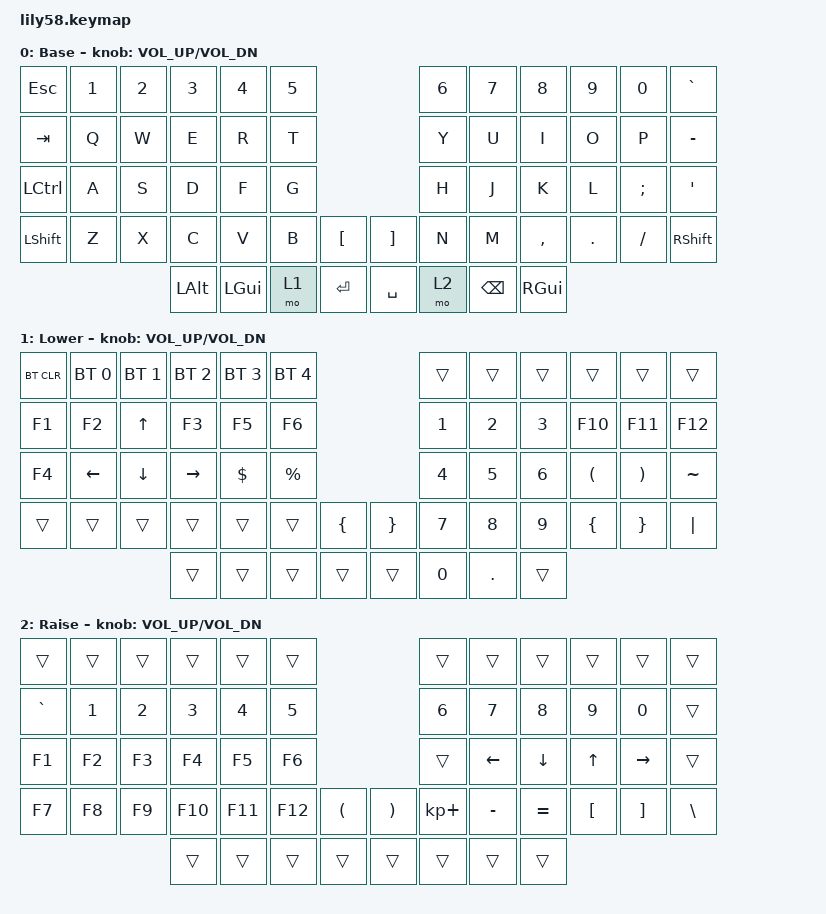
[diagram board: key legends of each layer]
/*
 * Copyright (c) 2020 The ZMK Contributors
 *
 * SPDX-License-Identifier: MIT
 */

#include <behaviors.dtsi>
#include <dt-bindings/zmk/bt.h>
#include <dt-bindings/zmk/keys.h>

/ {
    keymap {
        compatible = "zmk,keymap";

        default_layer {
            // ------------------------------------------------------------------------------------------------------------
            // |  ESC  |  1  |  2  |  3   |  4   |  5   |                   |  6   |  7    |  8    |  9   |   0   |   `   |
            // |  TAB  |  Q  |  W  |  E   |  R   |  T   |                   |  Y   |  U    |  I    |  O   |   P   |   -   |
            // |  CTRL |  A  |  S  |  D   |  F   |  G   |                   |  H   |  J    |  K    |  L   |   ;   |   '   |
            // | SHIFT |  Z  |  X  |  C   |  V   |  B   |   "["  |  |  "]"  |  N   |  M    |  ,    |  .   |   /   | SHIFT |
            //                     | ALT  | GUI  | LOWER|  SPACE |  | ENTER | RAISE| BSPC  | GUI   |

            display-name = "Base";
            bindings = <
&kp ESC    &kp N1  &kp N2  &kp N3    &kp N4    &kp N5                          &kp N6  &kp N7    &kp N8     &kp N9   &kp N0    &kp GRAVE
&kp TAB    &kp Q   &kp W   &kp E     &kp R     &kp T                           &kp Y   &kp U     &kp I      &kp O    &kp P     &kp MINUS
&kp LCTRL  &kp A   &kp S   &kp D     &kp F     &kp G                           &kp H   &kp J     &kp K      &kp L    &kp SEMI  &kp SQT
&kp LSHFT  &kp Z   &kp X   &kp C     &kp V     &kp B   &kp LBKT     &kp RBKT   &kp N   &kp M     &kp COMMA  &kp DOT  &kp FSLH  &kp RSHFT
                           &kp LALT  &kp LGUI  &mo 1   &kp ENTER    &kp SPACE  &mo 2   &kp BSPC  &kp RGUI
            >;

            sensor-bindings = <&inc_dec_kp C_VOL_UP C_VOL_DN>;
        };

        lower_layer {
            // ------------------------------------------------------------------------------------------------------------
            // | BTCLR | BT1 | BT2 |  BT3 |  BT4 |  BT5 |                   |      |       |       |      |       |       |
            // |  F1   |  F2 |  F3 |  F4  |  F5  |  F6  |                   |  F7  |  F8   |  F9   |  F10 |  F11  |  F12  |
            // |   `   |  !  |  @  |  #   |  $   |  %   |                   |  ^   |  &    |  *    |  (   |   )   |   ~   |
            // |       |     |     |      |      |      |        |  |       |      |  _    |  +    |  {   |   }   |  "|"  |
            //                     |      |      |      |        |  |       |      |       |       |

            display-name = "Lower";
            bindings = <
&bt BT_CLR  &bt BT_SEL 0  &bt BT_SEL 1    &bt BT_SEL 2  &bt BT_SEL 3  &bt BT_SEL 4                                     &trans        &trans        &trans        &trans    &trans    &trans
&kp F1      &kp F2        &kp UP_ARROW    &kp F3        &kp F5        &kp F6                                           &kp NUMBER_1  &kp NUMBER_2  &kp NUMBER_3  &kp F10   &kp F11   &kp F12
&kp F4      &kp LEFT      &kp DOWN_ARROW  &kp RIGHT     &kp DOLLAR    &kp PRCNT                                        &kp NUMBER_4  &kp NUMBER_5  &kp NUMBER_6  &kp LPAR  &kp RPAR  &kp TILDE
&trans      &trans        &trans          &trans        &trans        &trans        &kp LEFT_BRACE    &kp RIGHT_BRACE  &kp NUMBER_7  &kp NUMBER_8  &kp NUMBER_9  &kp LBRC  &kp RBRC  &kp PIPE
                                          &trans        &trans        &trans        &trans            &trans           &kp NUMBER_0  &kp PERIOD    &trans
            >;

            sensor-bindings = <&inc_dec_kp C_VOL_UP C_VOL_DN>;
        };

        raise_layer {
            // ------------------------------------------------------------------------------------------------------------
            // |       |     |     |      |      |      |                   |      |       |       |      |       |       |
            // |   `   |  1  |  2  |  3   |  4   |  5   |                   |  6   |   7   |   8   |  9   |   0   |       |
            // |   F1  |  F2 |  F3 |  F4  |  F5  |  F6  |                   |      |   <-  |   v   |  ^   |  ->   |       |
            // |   F7  |  F8 |  F9 |  F10 |  F11 |  F12 |        |  |       |  +   |   -   |   =   |  [   |   ]   |   \   |
            //                     |      |      |      |        |  |       |      |       |       |

            display-name = "Raise";
            bindings = <
&trans     &trans  &trans  &trans   &trans   &trans                                                  &trans       &trans     &trans     &trans    &trans     &trans
&kp GRAVE  &kp N1  &kp N2  &kp N3   &kp N4   &kp N5                                                  &kp N6       &kp N7     &kp N8     &kp N9    &kp N0     &trans
&kp F1     &kp F2  &kp F3  &kp F4   &kp F5   &kp F6                                                  &trans       &kp LEFT   &kp DOWN   &kp UP    &kp RIGHT  &trans
&kp F7     &kp F8  &kp F9  &kp F10  &kp F11  &kp F12  &kp LEFT_PARENTHESIS    &kp RIGHT_PARENTHESIS  &kp KP_PLUS  &kp MINUS  &kp EQUAL  &kp LBKT  &kp RBKT   &kp BSLH
                           &trans   &trans   &trans   &trans                  &trans                 &trans       &trans     &trans
            >;

            sensor-bindings = <&inc_dec_kp C_VOL_UP C_VOL_DN>;
        };

        extra_1 { status = "reserved"; };

        extra_2 { status = "reserved"; };

        extra_3 { status = "reserved"; };
    };
};
